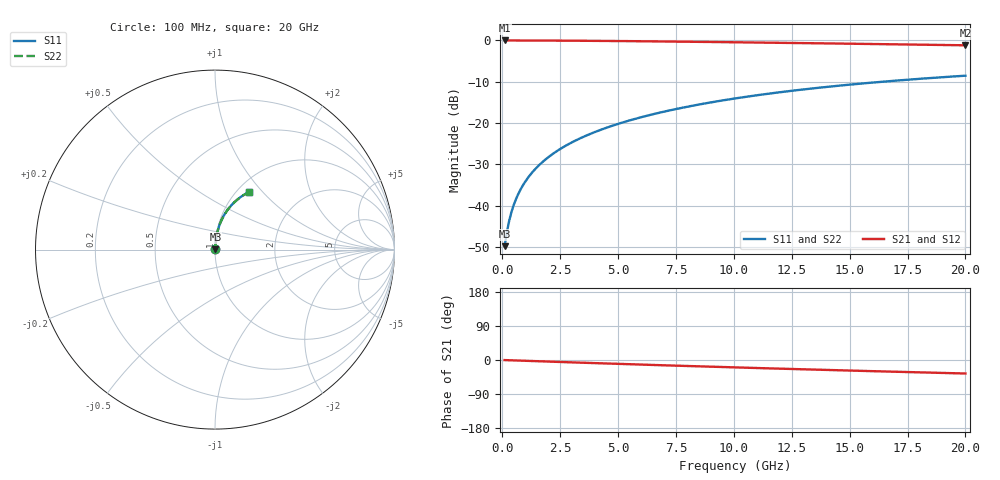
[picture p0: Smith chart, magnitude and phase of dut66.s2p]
! Touchstone file exported from HFSS 2024.1.0
!  File:  C:/UserFiles/LocalFiles/RDL_TSV_Batchsim/temp_RDL_top_66_1778681952.aedt
!  Generated:  10:21:20 PM May 13, 2026
!  Design:  RDL_top
!  Project:  temp_RDL_top_66_1778681952
!  Setup:  Setup1
!  Solution:  Sweep
! Variables:
!  dtsv = 10.80580581um
!  hbump = 3um
!  htsv = 85.46um
!  ldown = 100um
!  lrdl = 462.2um
!  p = 40
!  p1 = 52.64um
!  rhole = 1um
!  t = 450um
!  tdown = 3.915915916um
!  trdl = 3.89um
!  wdown = 15.38538539um
!  wrdl = 17.99um
# GHz S MA R 50.000000
! Terminal data exported
! Port[1] = Box2_T1
! Port[2] = Box2_T2
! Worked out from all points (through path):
!   200 points, 100 MHz to 20 GHz, reference 50 ohm
!   highest |S21| = -0.02 dB at 100 MHz (marker M1); lowest = -1.2 dB at 20 GHz (marker M2)
!   group delay of S21, straight-line fit = 4.93 ps
!   lowest |S11| = -49.8 dB at 100 MHz (marker M3), VSWR 1.01, Z = 50.2 + j0.206 ohm
!   |S11| at or under -10 dB: start of sweep to 16.45 GHz
!   |S22| runs from -49.8 to -8.6 dB; largest |S21 - S12| = 3.6e-15
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0.1  0.003225 39.5  0.9975 -0.2  0.9975 -0.2  0.003225 39.5
! Gamma 0 0 0 0
! Port Impedance 50 0 50 0
0.2  0.004812 57.6  0.9974 -0.4  0.9974 -0.4  0.004812 57.6
0.3  0.006599 65.9  0.9973 -0.6  0.9973 -0.6  0.006599 65.9
0.4  0.008431 70.6  0.9971 -0.9  0.9971 -0.9  0.008431 70.6
0.5  0.01028 73.6  0.997 -1.1  0.997 -1.1  0.01028 73.6
0.6  0.01214 75.8  0.9969 -1.3  0.9969 -1.3  0.01214 75.7
0.8  0.01587 78.5  0.9966 -1.7  0.9966 -1.7  0.01587 78.5
1.1  0.02153 80.9  0.9962 -2.3  0.9962 -2.3  0.02153 80.9
1.5  0.02915 82.4  0.9954 -3.1  0.9954 -3.1  0.02915 82.4
1.8  0.0349 83.1  0.9947 -3.8  0.9947 -3.8  0.0349 83.0
2.1  0.04067 83.4  0.994 -4.4  0.994 -4.4  0.04067 83.4
2.7  0.05228 83.6  0.9921 -5.6  0.9921 -5.6  0.05228 83.6
3.5  0.06789 83.4  0.9889 -7.2  0.9889 -7.2  0.06788 83.4
4.2  0.08165 82.9  0.9857 -8.6  0.9857 -8.6  0.08163 82.9
5  0.09749 82.2  0.9816 -10.2  0.9816 -10.2  0.09746 82.2
5.9  0.1154 81.2  0.9765 -11.9  0.9765 -11.9  0.1154 81.2
6.8  0.1334 80.1  0.9709 -13.6  0.9709 -13.6  0.1334 80.0
8.4  0.1654 77.8  0.9603 -16.6  0.9603 -16.6  0.1653 77.7
10.1  0.1991 75.2  0.9484 -19.6  0.9484 -19.6  0.1989 75.1
13.4  0.2621 69.9  0.9238 -25.3  0.9238 -25.3  0.2618 69.8
16.7  0.3205 64.5  0.898 -30.6  0.898 -30.6  0.3202 64.5
20  0.3735 59.4  0.8716 -35.6  0.8716 -35.6  0.3731 59.3
